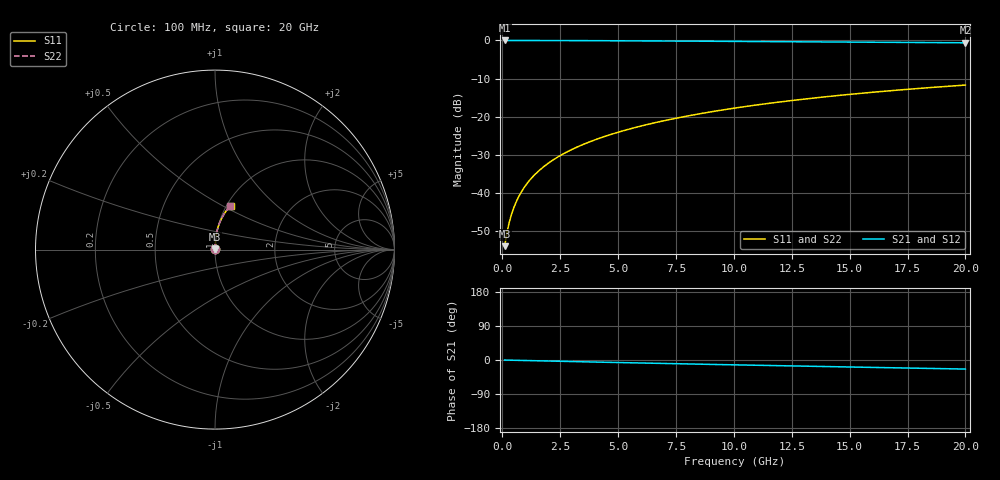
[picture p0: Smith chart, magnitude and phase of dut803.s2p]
! Touchstone file exported from HFSS 2024.1.0
!  File:  C:/UserFiles/LocalFiles/RDL_TSV_Batchsim/temp_RDL_bottom_803_1779862015.aedt
!  Generated:  02:09:08 PM May 27, 2026
!  Design:  RDL_bottom
!  Project:  temp_RDL_bottom_803_1779862015
!  Setup:  Setup1
!  Solution:  Sweep
! Variables:
!  dtsv = 10.80580581um
!  hbump = 3um
!  htsv = 61.24um
!  ldown = 311.72um
!  lrdl = 100um
!  p = 40
!  p1 = 47.83um
!  rhole = 1um
!  t = 450um
!  tdown = 4.37um
!  trdl = 3.915915916um
!  wdown = 18.4um
!  wrdl = 20um
# GHz S MA R 50.000000
! Terminal data exported
! Port[1] = RDL1_T1
! Port[2] = RDL1_T2
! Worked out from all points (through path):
!   200 points, 100 MHz to 20 GHz, reference 50 ohm
!   highest |S21| = -0.01 dB at 100 MHz (marker M1); lowest = -0.6 dB at 20 GHz (marker M2)
!   group delay of S21, straight-line fit = 3.29 ps
!   lowest |S11| = -53.9 dB at 100 MHz (marker M3), VSWR 1.00, Z = 50.2 + j0.132 ohm
!   |S11| at or under -10 dB: start of sweep to end of sweep
!   |S22| runs from -53.9 to -11.7 dB; largest |S21 - S12| = 3.6e-15
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0.1  0.002014 40.8  0.9985 -0.1  0.9985 -0.1  0.002014 40.8
! Gamma 0 0 0 0
! Port Impedance 50 0 50 0
0.2  0.003021 58.2  0.9984 -0.3  0.9984 -0.3  0.003021 58.2
0.3  0.004131 66.7  0.9983 -0.4  0.9983 -0.4  0.00413 66.7
0.4  0.005282 71.6  0.9982 -0.6  0.9982 -0.6  0.005282 71.6
0.5  0.006458 74.8  0.9981 -0.7  0.9981 -0.7  0.006458 74.8
0.6  0.007649 77.1  0.9981 -0.8  0.9981 -0.8  0.007649 77.1
0.8  0.01006 79.9  0.9979 -1.1  0.9979 -1.1  0.01006 79.9
1.1  0.01371 82.3  0.9976 -1.5  0.9976 -1.5  0.01371 82.3
1.5  0.01861 84.0  0.9972 -2.1  0.9972 -2.1  0.01861 84.0
1.8  0.0223 84.7  0.9968 -2.5  0.9968 -2.5  0.0223 84.7
2.1  0.026 85.2  0.9963 -2.9  0.9963 -2.9  0.026 85.2
2.7  0.03344 85.7  0.9951 -3.7  0.9951 -3.7  0.03344 85.7
3.5  0.04345 86.0  0.9932 -4.8  0.9932 -4.8  0.04345 86.0
4.2  0.05233 86.0  0.9913 -5.7  0.9913 -5.7  0.05233 86.0
5  0.0626 85.8  0.9888 -6.7  0.9888 -6.7  0.06261 85.8
5.9  0.07434 85.3  0.9859 -7.8  0.9859 -7.8  0.07434 85.4
6.8  0.08623 84.8  0.9827 -9.0  0.9827 -9.0  0.08623 84.8
8.4  0.1077 83.5  0.9769 -10.9  0.9769 -10.9  0.1077 83.5
10.1  0.1306 81.9  0.9705 -12.9  0.9705 -12.9  0.1307 81.9
13.4  0.1751 78.2  0.9576 -16.7  0.9576 -16.7  0.1751 78.2
16.7  0.2184 74.4  0.9442 -20.3  0.9442 -20.3  0.2184 74.4
20  0.2598 70.6  0.9302 -23.9  0.9302 -23.9  0.2599 70.6
